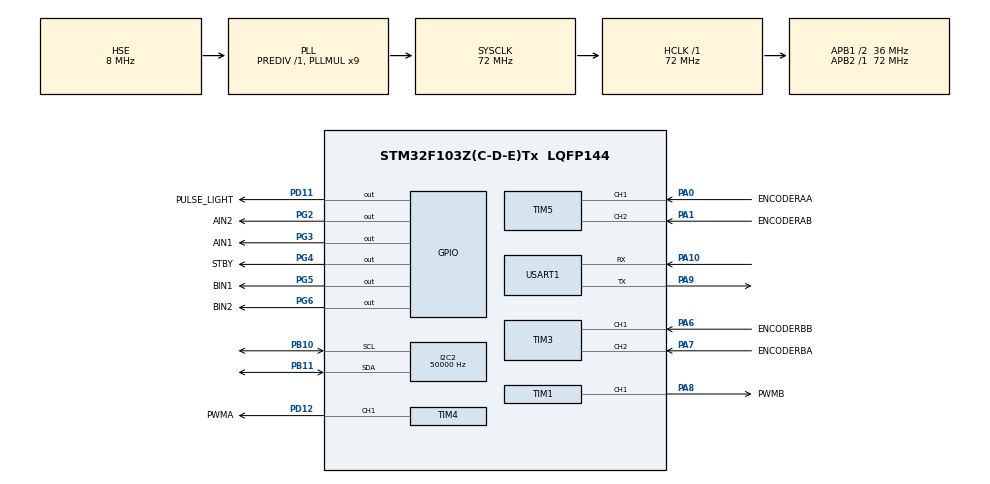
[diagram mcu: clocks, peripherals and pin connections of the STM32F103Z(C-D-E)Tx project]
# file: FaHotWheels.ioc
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I2C2.ClockSpeed=50000
Mcu.Family=STM32F1
Mcu.Name=STM32F103Z(C-D-E)Tx
Mcu.Package=LQFP144
NVIC.PriorityGroup=NVIC_PRIORITYGROUP_4
NVIC.TIM3_IRQn=true\:4\:0\:true\:false\:true\:true\:true\:true
NVIC.TIM5_IRQn=true\:4\:0\:true\:false\:true\:true\:true\:true
NVIC.TIM6_IRQn=true\:12\:0\:true\:false\:true\:true\:true\:true
NVIC.USART1_IRQn=true\:5\:0\:true\:false\:true\:true\:true\:true
OSC_IN.Mode=HSE-External-Oscillator
OSC_IN.Signal=RCC_OSC_IN
OSC_OUT.Mode=HSE-External-Oscillator
OSC_OUT.Signal=RCC_OSC_OUT
PA0-WKUP.GPIO_Label=ENCODERAA
PA0-WKUP.GPIO_PuPd=GPIO_PULLUP
PA0-WKUP.Signal=S_TIM5_CH1
PA1.GPIO_Label=ENCODERAB
PA1.GPIO_PuPd=GPIO_PULLUP
PA1.Signal=S_TIM5_CH2
PA10.Mode=Asynchronous
PA10.Signal=USART1_RX
PA13.Mode=Serial_Wire
PA13.Signal=SYS_JTMS-SWDIO
PA14.Mode=Serial_Wire
PA14.Signal=SYS_JTCK-SWCLK
PA6.GPIO_Label=ENCODERBB
PA6.GPIO_PuPd=GPIO_PULLUP
PA6.Signal=S_TIM3_CH1
PA7.GPIO_Label=ENCODERBA
PA7.GPIO_PuPd=GPIO_PULLUP
PA7.Signal=S_TIM3_CH2
PA8.GPIO_Label=PWMB
PA8.Signal=S_TIM1_CH1
PA9.Mode=Asynchronous
PA9.Signal=USART1_TX
PB10.Mode=I2C
PB10.Signal=I2C2_SCL
PB11.Mode=I2C
PB11.Signal=I2C2_SDA
PC14-OSC32_IN.Mode=LSE-External-Oscillator
PC14-OSC32_IN.Signal=RCC_OSC32_IN
PC15-OSC32_OUT.Mode=LSE-External-Oscillator
PC15-OSC32_OUT.Signal=RCC_OSC32_OUT
PD11.GPIO_Label=PULSE_LIGHT
PD11.GPIO_PuPd=GPIO_PULLDOWN
PD11.Signal=GPIO_Output
PD12.GPIO_Label=PWMA
PD12.Signal=S_TIM4_CH1
PG2.GPIO_Label=AIN2
PG2.GPIO_PuPd=GPIO_PULLDOWN
PG2.Signal=GPIO_Output
PG3.GPIO_Label=AIN1
PG3.GPIO_PuPd=GPIO_PULLDOWN
PG3.Signal=GPIO_Output
PG4.GPIO_Label=STBY
PG4.GPIO_PuPd=GPIO_PULLDOWN
PG4.Signal=GPIO_Output
PG5.GPIO_Label=BIN1
PG5.GPIO_PuPd=GPIO_PULLDOWN
PG5.Signal=GPIO_Output
PG6.GPIO_Label=BIN2
PG6.GPIO_PuPd=GPIO_PULLDOWN
PG6.Signal=GPIO_Output
ProjectManager.HeapSize=0x200
ProjectManager.StackSize=0x400
ProjectManager.TargetToolchain=STM32CubeIDE
RCC.AHBFreq_Value=72000000
RCC.APB1CLKDivider=RCC_HCLK_DIV2
RCC.APB1Freq_Value=36000000
RCC.APB1TimFreq_Value=72000000
RCC.APB2Freq_Value=72000000
RCC.APB2TimFreq_Value=72000000
RCC.HCLKFreq_Value=72000000
RCC.PLLMUL=RCC_PLL_MUL9
RCC.PLLSourceVirtual=RCC_PLLSOURCE_HSE
RCC.SYSCLKFreq_VALUE=72000000
RCC.SYSCLKSource=RCC_SYSCLKSOURCE_PLLCLK
RCC.USBFreq_Value=72000000
SH.S_TIM1_CH1.0=TIM1_CH1,PWM Generation1 CH1
SH.S_TIM3_CH1.0=TIM3_CH1,Encoder_Interface
SH.S_TIM3_CH2.0=TIM3_CH2,Encoder_Interface
SH.S_TIM4_CH1.0=TIM4_CH1,PWM Generation1 CH1
SH.S_TIM5_CH1.0=TIM5_CH1,Encoder_Interface
SH.S_TIM5_CH2.0=TIM5_CH2,Encoder_Interface
STMicroelectronics.X-CUBE-ALGOBUILD.1.4.0.LibraryCcDSPOoLibraryJjDSPOoLibrary=true
STMicroelectronics.X-CUBE-ALGOBUILD.1.4.0.LibraryCcMotionOoLibrariesJjMotionOoLibraries=true
TIM1.Channel-PWM\ Generation1\ CH1=TIM_CHANNEL_1
TIM1.Period=999
TIM1.Prescaler=71
TIM3.EncoderMode=TIM_ENCODERMODE_TI12
TIM3.IC1Filter=6
TIM3.IC2Filter=6
TIM3.TIM_MasterOutputTrigger=TIM_TRGO_RESET
TIM3.TIM_MasterSlaveMode=TIM_MASTERSLAVEMODE_DISABLE
TIM4.Channel-PWM\ Generation1\ CH1=TIM_CHANNEL_1
TIM4.Period=999
TIM4.Prescaler=71
TIM5.EncoderMode=TIM_ENCODERMODE_TI12
TIM5.IC1Filter=6
TIM5.IC2Filter=6
TIM5.TIM_MasterSlaveMode=TIM_MASTERSLAVEMODE_DISABLE
TIM6.Period=20000-1
TIM6.Prescaler=72-1
USART1.VirtualMode=VM_ASYNC
VP_STMicroelectronics.X-CUBE-ALGOBUILD_VS_DSPOoLibraryJjLibrary_1.4.0_1.4.0.Mode=DSPOoLibraryJjLibrary
VP_STMicroelectronics.X-CUBE-ALGOBUILD_VS_MotionOoLibrariesJjLibrary_1.4.0_1.4.0.Mode=MotionOoLibrariesJjLibrary
VP_TIM6_VS_ClockSourceINT.Mode=Enable_Timer
board=custom

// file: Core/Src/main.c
/* USER CODE BEGIN Header */
/**
  ******************************************************************************
  * @file           : main.c
  * @brief          : Main program body
  ******************************************************************************
  * @attention
  *
  * Copyright (c) 2025 STMicroelectronics.
  * All rights reserved.
  *
  * This software is licensed under terms that can be found in the LICENSE file
  * in the root directory of this software component.
  * If no LICENSE file comes with this software, it is provided AS-IS.
  *
  ******************************************************************************
  */
/* USER CODE END Header */
#include "main.h"
#include "i2c.h"
#include "tim.h"
#include "usart.h"
#include "gpio.h"

/* USER CODE BEGIN Includes */
#include "math.h"
#include "mpu6050.h"
#include "tb6612fng.h"
#include "encoder.h"
#include "encoder_test.h"
#include "mpu6050_test.h"
#include "accel_cal.h"
#include "pid_balance.h"
#include "log.h"
#include "Vofa.h"
/* USER CODE END Includes */

/* USER CODE BEGIN PD */
/* Enable only one test/cal mode at a time (blocks and skips balance loop). */
#ifndef RUN_ENCODER_TEST
#define RUN_ENCODER_TEST  0
#endif
#ifndef RUN_MPU_TEST
#define RUN_MPU_TEST      0
#endif
#ifndef RUN_ACCEL_CAL
#define RUN_ACCEL_CAL     0   /* 1 = MPU6050 six-face accel calibration */
#endif
/* USER CODE END PD */

void SystemClock_Config(void);

/* USER CODE BEGIN 0 */
static void Balance_CutAndReset(float *angle_trim, float *speed_filt, float *gyro_filt, int16_t *duty_filt)
{
	PID_Init();
	*angle_trim = 0.0f;
	*speed_filt = 0.0f;
	*gyro_filt = 0.0f;
	*duty_filt = 0;
	MotorShutdown();
}
/* USER CODE END 0 */

int main(void)
{

  /* USER CODE BEGIN 1 */
	Log_SetLevel(LOG_INFO);
  /* USER CODE END 1 */

  /* MCU Configuration--------------------------------------------------------*/

  /* Reset of all peripherals, Initializes the Flash interface and the Systick. */
  HAL_Init();

  /* Configure the system clock */
  SystemClock_Config();

  /* Initialize all configured peripherals */
  MX_GPIO_Init();
  MX_USART1_UART_Init();
  MX_I2C2_Init();
  MX_TIM4_Init();
  MX_TIM1_Init();
  MX_TIM3_Init();
  MX_TIM5_Init();
  MX_TIM6_Init();
  /* USER CODE BEGIN 2 */
  MotorInit();
  MotorShutdown(); /* keep driver off until balance loop recovers upright */
  /* MotorHwTest(); */ /* enable only when debugging motor wiring */

  Enc_Init();
#if RUN_ENCODER_TEST
  Enc_SelfTest(); /* UART count / rev / RPM — does not return */
#endif

  HAL_Delay(100); /* MPU6050 power-up settle */

  /* Probe I2C: AD0=GND → 0xD0, AD0=VCC → 0xD2 (HAL 8-bit addr) */
  if (HAL_I2C_IsDeviceReady(&hi2c2, 0xD0, 5, 200) == HAL_OK) {
	  Log(LOG_INFO, "MPU6050 ACK @ 0x68 (0xD0)");
  } else if (HAL_I2C_IsDeviceReady(&hi2c2, 0xD2, 5, 200) == HAL_OK) {
	  Log(LOG_ERROR, "MPU6050 ACK @ 0x69 (0xD2) — check AD0 / addr in inv_mpu.c");
  } else {
	  Log(LOG_ERROR, "MPU6050 no ACK on I2C2 (PB10/SCL, PB11/SDA). Check wiring/power.");
  }

  int ret = 0;
  do {
	  ret = MPU6050_DMP_init();
	  if (ret != 0) {
		  Log(LOG_ERROR, "MPU6050 init failure, ret = %d!\r\n", ret);
		  HAL_Delay(500);
	  }
  } while (ret);
  Log(LOG_INFO, "MPU6050 Ready!\r\n");

#if RUN_MPU_TEST
  MPU_SelfTest(); /* UART: pitch, roll, yaw, gyro_dps — does not return */
#endif
#if RUN_ACCEL_CAL
  AccelCal_SelfTest(); /* six-face cal → flash — does not return */
#endif

  PID_Init();
  MotorShutdown();
  Vofa_PidTune_Init();
  Log(LOG_INFO, "Enter balance loop. ANGLE_MECH_ZERO=%.2f GYRO_BIAS=%.2f FALL=%.0f\r\n",
		 ANGLE_MECH_ZERO, GYRO_BIAS, FALL_ANGLE_DEG);

  /* USER CODE END 2 */

  /* Infinite loop */
  /* USER CODE BEGIN WHILE */
  float roll, yaw, pitch, gyro_dps;
  float angle_trim = 0.0f;
  float speed_filt = 0.0f;
  float gyro_filt = 0.0f;
  int16_t duty_filt = 0;
  uint32_t log_div = 0;
  uint32_t speed_div = 0;
  uint8_t fallen = 1; /* start cut off until upright and settled */
  uint32_t last_imu_ms = HAL_GetTick();
  uint32_t recover_ok_ms = 0;
  (void)speed_filt;  /* used when speed loop is enabled */
  (void)speed_div;
  while (1)
  {
    /* USER CODE END WHILE */

    /* USER CODE BEGIN 3 */
	  Vofa_PidTune_Poll();
	  if (MPU6050_DMP_Get_Date(&pitch, &roll, &yaw, &gyro_dps) != 0) {
		  if ((HAL_GetTick() - last_imu_ms) > IMU_FAIL_KILL_MS) {
			  if (!fallen) {
				  fallen = 1;
				  recover_ok_ms = 0;
				  Log(LOG_ERROR, "IMU timeout, motors off\r\n");
			  }
			  Balance_CutAndReset(&angle_trim, &speed_filt, &gyro_filt, &duty_filt);
		  }
		  HAL_Delay(1);
		  continue;
	  }
	  last_imu_ms = HAL_GetTick();
	  gyro_dps -= GYRO_BIAS;
	  gyro_filt = (1.0f - GYRO_LPF_ALPHA) * gyro_filt + GYRO_LPF_ALPHA * gyro_dps;
	  {
		  float ang_err = fabsf(pitch - ANGLE_MECH_ZERO);
		  if (!fallen) {
			  if (ang_err > FALL_ANGLE_DEG) {
				  fallen = 1;
				  recover_ok_ms = 0;
				  Balance_CutAndReset(&angle_trim, &speed_filt, &gyro_filt, &duty_filt);
				  Log(LOG_ERROR, "Fallen, motors off pitch=%.2f\r\n", pitch);
			  }
		  } else if (ang_err < RECOVER_ANGLE_DEG && fabsf(gyro_dps) < RECOVER_GYRO_DPS) {
			  if (recover_ok_ms == 0U) {
				  recover_ok_ms = HAL_GetTick();
			  }
			  if ((HAL_GetTick() - recover_ok_ms) >= RECOVER_HOLD_MS) {
				  fallen = 0;
				  recover_ok_ms = 0;
				  PID_Init();
				  angle_trim = 0.0f;
				  speed_filt = 0.0f;
				  duty_filt = 0;
				  Log(LOG_INFO, "Recovered, motors on pitch=%.2f\r\n", pitch);
			  }
		  } else {
			  recover_ok_ms = 0;
		  }
	  }

	  if (fallen) {
		  MotorShutdown();
		  if ((++log_div % 10U) == 0U) {
			  Log(LOG_INFO, "%.2f,%.2f,0,0\r\n", pitch, ANGLE_MECH_ZERO);
		  }
		  HAL_GPIO_TogglePin(PULSE_LIGHT_GPIO_Port, PULSE_LIGHT_Pin);
		  continue;
	  }

	  /* Speed loop ~10 Hz, feedback in output-shaft RPM */
	  if ((++speed_div % 10U) == 0U) {
		  float left_rpm, right_rpm;
		  ENC_GetSpeeds(&left_rpm, &right_rpm);
		  //两个轮子由于是对向安装的，他们的速度方向是相反的，求和应该是（left_rpm + (-right_rpm)）/ 2.0,化简之后如下
		  float spd = (left_rpm - right_rpm) / 2.0f;
		  speed_filt = 0.8f * speed_filt + 0.2f * spd;
		  SpeedPID.NowVal = speed_filt;
		  SpeedPID.SetVal = speed_target_rpm;
		  angle_trim = PID_Calc(&SpeedPID);
	  }
	  BalancePID.SetVal = ANGLE_MECH_ZERO + SPEED_TRIM_SIGN * angle_trim;
	  BalancePID.NowVal = pitch;
	  float pid_balance = PID_BalanceGyro(&BalancePID, gyro_filt);

	  int16_t duty = (int16_t)(MOTOR_CMD_SIGN * pid_balance);

	  duty_filt = 0.8f * duty_filt + 0.2f * duty;

	  float duty_output = duty_filt;
	  if (duty_output > 900) duty_output = 900;
	  if (duty_output < -900) duty_output = -900;

	  MotorControl(duty_output);

//	  Log(LOG_VOFA, "Balance PID: %.2f,%.2f,%.2f,%.2f", BalancePID.SetVal, BalancePID.NowVal, gyro_filt, pid_balance);

	  HAL_GPIO_TogglePin(PULSE_LIGHT_GPIO_Port, PULSE_LIGHT_Pin);
  }
  /* USER CODE END 3 */
}

void SystemClock_Config(void)
{
  RCC_OscInitTypeDef RCC_OscInitStruct = {0};
  RCC_ClkInitTypeDef RCC_ClkInitStruct = {0};

  /** Initializes the RCC Oscillators according to the specified parameters
  * in the RCC_OscInitTypeDef structure.
  */
  RCC_OscInitStruct.OscillatorType = RCC_OSCILLATORTYPE_HSE;
  RCC_OscInitStruct.HSEState = RCC_HSE_ON;
  RCC_OscInitStruct.HSEPredivValue = RCC_HSE_PREDIV_DIV1;
  RCC_OscInitStruct.HSIState = RCC_HSI_ON;
  RCC_OscInitStruct.PLL.PLLState = RCC_PLL_ON;
  RCC_OscInitStruct.PLL.PLLSource = RCC_PLLSOURCE_HSE;
  RCC_OscInitStruct.PLL.PLLMUL = RCC_PLL_MUL9;
  if (HAL_RCC_OscConfig(&RCC_OscInitStruct) != HAL_OK)
  {
    Error_Handler();
  }

  /** Initializes the CPU, AHB and APB buses clocks
  */
  RCC_ClkInitStruct.ClockType = RCC_CLOCKTYPE_HCLK|RCC_CLOCKTYPE_SYSCLK
                              |RCC_CLOCKTYPE_PCLK1|RCC_CLOCKTYPE_PCLK2;
  RCC_ClkInitStruct.SYSCLKSource = RCC_SYSCLKSOURCE_PLLCLK;
  RCC_ClkInitStruct.AHBCLKDivider = RCC_SYSCLK_DIV1;
  RCC_ClkInitStruct.APB1CLKDivider = RCC_HCLK_DIV2;
  RCC_ClkInitStruct.APB2CLKDivider = RCC_HCLK_DIV1;

  if (HAL_RCC_ClockConfig(&RCC_ClkInitStruct, FLASH_LATENCY_2) != HAL_OK)
  {
    Error_Handler();
  }
}

void Error_Handler(void)
{
  __disable_irq();
  while (1)
  {
  }
}
#ifdef USE_FULL_ASSERT
/**
  * @brief  Reports the name of the source file and the source line number
  *         where the assert_param error has occurred.
  * @param  file: pointer to the source file name
  * @param  line: assert_param error line source number
  * @retval None
  */
void assert_failed(uint8_t *file, uint32_t line)
{
  /* USER CODE BEGIN 6 */
  /* User can add his own implementation to report the file name and line number,
     ex: Log(LOG_ERROR, "Wrong parameters value: file %s on line %d\r\n", file, line) */
  /* USER CODE END 6 */
}
#endif /* USE_FULL_ASSERT */
